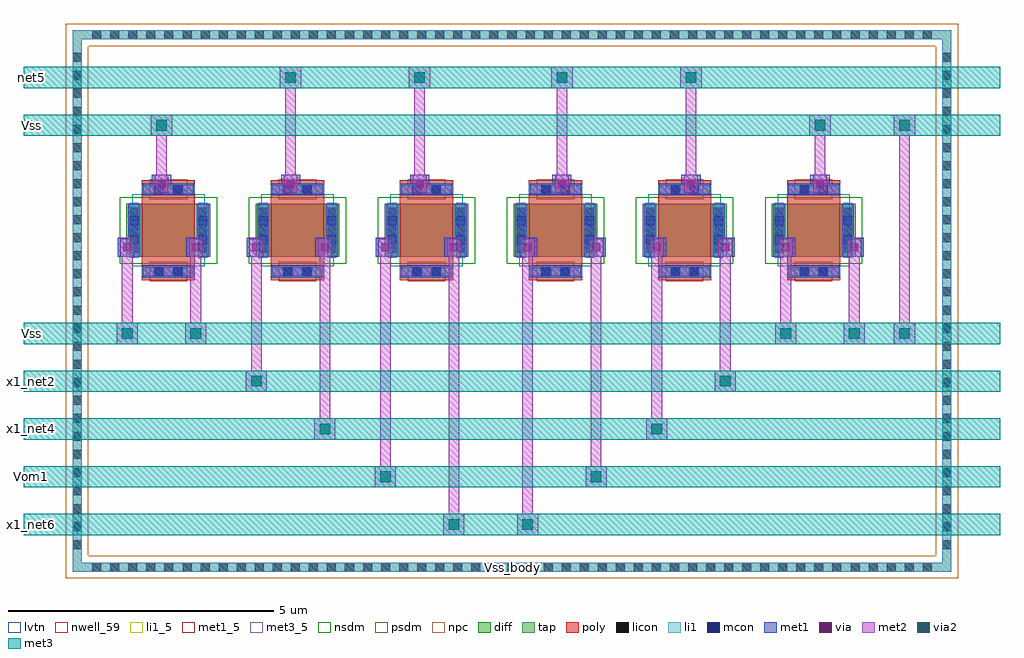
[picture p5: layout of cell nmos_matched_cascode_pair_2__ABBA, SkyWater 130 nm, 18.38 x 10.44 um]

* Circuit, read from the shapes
.subckt nmos_matched_cascode_pair_2__ABBA Vom1 Vss Vss_body net5 x1_net2 x1_net4 x1_net6
XM1 Vss Vss Vss Vss_body sky130_fd_pr__nfet_01v8_lvt w=1 l=1 m=2
XM2 x1_net4 net5 x1_net2 Vss_body sky130_fd_pr__nfet_01v8_lvt w=1 l=1 m=2
XM3 x1_net6 net5 Vom1 Vss_body sky130_fd_pr__nfet_01v8_lvt w=1 l=1 m=2
.ends

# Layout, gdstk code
from math import pi, radians
import gdstk
lib = gdstk.Library(unit=1e-6, precision=1e-09)
def R(c, l, rs):  # rectangles x0, y0, x1, y1
    for r in rs: c.add(gdstk.rectangle(r[:2], r[2:], *l))
def A(c, l, x, y, w, h, nx, ny, dx, dy):  # array of equal rectangles
    R(c, l, [(x+i*dx, y+j*dy, x+i*dx+w, y+j*dy+h) for i in range(nx) for j in range(ny)])
nwell_59 = (64, 59)
diff = (65, 20)
tap = (65, 44)
poly = (66, 20)
licon = (66, 44)
li1_5 = (67, 5)
li1 = (67, 20)
mcon = (67, 44)
met1_5 = (68, 5)
met1 = (68, 20)
via = (68, 44)
met2 = (69, 20)
via2 = (69, 44)
met3_5 = (70, 5)
met3 = (70, 20)
nsdm = (93, 44)
psdm = (94, 20)
npc = (95, 20)
lvtn = (125, 44)

sky130_fd_pr__nfet_01v8_ = lib.new_cell('sky130_fd_pr__nfet_01v8_lvt_YU23CF')
R(sky130_fd_pr__nfet_01v8_, diff, [(-0.79,-0.5,0.79,0.5)])
R(sky130_fd_pr__nfet_01v8_, poly, [(-0.5,-0.94,0.5,0.94)])
A(sky130_fd_pr__nfet_01v8_, licon, -0.73, -0.425, 0.17, 0.17, 1, 3, 0, 0.34)
A(sky130_fd_pr__nfet_01v8_, licon, 0.56, -0.425, 0.17, 0.17, 1, 3, 0, 0.34)
R(sky130_fd_pr__nfet_01v8_, licon, [(-0.255,-0.86,-0.085,-0.69), (0.085,-0.86,0.255,-0.69), (-0.255,0.69,-0.085,0.86), (0.085,0.69,0.255,0.86)])
R(sky130_fd_pr__nfet_01v8_, li1, [(-0.5,-0.86,0.5,-0.69), (-0.73,-0.52,-0.56,0.52), (0.56,-0.52,0.73,0.52), (-0.5,0.69,0.5,0.86)])
R(sky130_fd_pr__nfet_01v8_, mcon, [(-0.265,-0.86,-0.095,-0.69), (0.095,-0.86,0.265,-0.69), (-0.73,-0.265,-0.56,-0.095), (0.56,-0.265,0.73,-0.095), (-0.73,0.095,-0.56,0.265), (0.56,0.095,0.73,0.265), (-0.265,0.69,-0.095,0.86), (0.095,0.69,0.265,0.86)])
R(sky130_fd_pr__nfet_01v8_, met1, [(-0.48,-0.89,0.48,-0.66), (-0.76,-0.5,-0.53,0.5), (0.53,-0.5,0.76,0.5), (-0.48,0.66,0.48,0.89)])
R(sky130_fd_pr__nfet_01v8_, nsdm, [(-0.915,-0.625,0.915,0.625)])
R(sky130_fd_pr__nfet_01v8_, npc, [(-0.355,-0.96,0.355,-0.59), (-0.355,0.59,0.355,0.96)])
R(sky130_fd_pr__nfet_01v8_, lvtn, [(-0.68,-0.68,0.68,0.68)])
sky130_fd_pr__nfet_01v8_.add(gdstk.Label('D', (-0.645,0), layer=67, texttype=5))
sky130_fd_pr__nfet_01v8_.add(gdstk.Label('S', (0.645,0), layer=67, texttype=5))
sky130_fd_pr__nfet_01v8_.add(gdstk.Label('G', (0,0.775), layer=67, texttype=5))

nfet_01v8_lvt_w1_l1_m2__ = lib.new_cell('nfet_01v8_lvt_W1_L1_m2__nf1_gboth_sdfull_ng')
R(nfet_01v8_lvt_w1_l1_m2__, nwell_59, [(0.05,0.89,0.15,0.99)])
R(nfet_01v8_lvt_w1_l1_m2__, met1_5, [(0.03,0.94,0.26,1.14), (1.32,0.94,1.55,1.14), (0.31,1.6,1.27,1.83)])
R(nfet_01v8_lvt_w1_l1_m2__, met1, [(0.03,0.94,0.26,1.14), (1.32,0.94,1.55,1.14), (0.31,1.6,1.27,1.83)])
nfet_01v8_lvt_w1_l1_m2__.add(gdstk.Reference(sky130_fd_pr__nfet_01v8_, (0.79,0.94)))
nfet_01v8_lvt_w1_l1_m2__.add(gdstk.Label('D', (0.145,1.04), layer=68, texttype=5))
nfet_01v8_lvt_w1_l1_m2__.add(gdstk.Label('S', (1.435,1.04), layer=68, texttype=5))
nfet_01v8_lvt_w1_l1_m2__.add(gdstk.Label('G', (0.79,1.715), layer=68, texttype=5))
nfet_01v8_lvt_w1_l1_m2__.add(gdstk.Label('B', (0.1,0.94), layer=64, texttype=59))

nmos_matched_cascode_pai = lib.new_cell('nmos_matched_cascode_pair_2__ABBA')
R(nmos_matched_cascode_pai, tap, [(-0.885,-5.485,15.665,-5.315), (-0.885,-5.315,-0.715,4.535), (15.495,-5.315,15.665,4.535), (-0.885,4.535,15.665,4.705)])
A(nmos_matched_cascode_pai, licon, -0.515, -5.485, 0.17, 0.17, 47, 2, 0.34, 10.02)
A(nmos_matched_cascode_pai, licon, -0.885, -5.065, 0.17, 0.17, 1, 28, 0, 0.34)
A(nmos_matched_cascode_pai, licon, 15.495, -5.065, 0.17, 0.17, 1, 28, 0, 0.34)
R(nmos_matched_cascode_pai, li1_5, [(7.34,-5.45,7.44,-5.35)])
R(nmos_matched_cascode_pai, li1, [(-0.885,-5.485,15.665,-5.315), (-0.885,-5.315,-0.715,4.535), (15.495,-5.315,15.665,4.535), (-0.885,4.535,15.665,4.705)])
A(nmos_matched_cascode_pai, met1, 0.61, 1.63, 0.36, 0.36, 3, 1, 2.43, 0)
A(nmos_matched_cascode_pai, met1, 8.15, 1.63, 0.36, 0.36, 3, 1, 2.43, 0)
R(nmos_matched_cascode_pai, met1, [(-0.035,0.44,0.325,0.8), (1.255,0.44,1.615,0.8), (2.395,0.44,2.755,0.8), (3.685,0.44,4.045,0.8), (4.825,0.44,5.185,0.8), (6.115,0.44,6.475,0.8), (7.505,0.44,7.865,0.8), (8.795,0.44,9.155,0.8), (9.935,0.44,10.295,0.8), (11.225,0.44,11.585,0.8), (12.365,0.44,12.725,0.8), (13.655,0.44,14.015,0.8)])
A(nmos_matched_cascode_pai, via, 0.715, 1.735, 0.15, 0.15, 3, 1, 2.43, 0)
A(nmos_matched_cascode_pai, via, 8.255, 1.735, 0.15, 0.15, 3, 1, 2.43, 0)
R(nmos_matched_cascode_pai, via, [(0.07,0.545,0.22,0.695), (1.36,0.545,1.51,0.695), (2.5,0.545,2.65,0.695), (3.79,0.545,3.94,0.695), (4.93,0.545,5.08,0.695), (6.22,0.545,6.37,0.695), (7.61,0.545,7.76,0.695), (8.9,0.545,9.05,0.695), (10.04,0.545,10.19,0.695), (11.33,0.545,11.48,0.695), (12.47,0.545,12.62,0.695), (13.76,0.545,13.91,0.695)])
A(nmos_matched_cascode_pai, met2, 0.66, 1.65, 0.26, 0.32, 3, 1, 2.43, 0)
A(nmos_matched_cascode_pai, met2, 8.2, 1.65, 0.26, 0.32, 3, 1, 2.43, 0)
R(nmos_matched_cascode_pai, met2, [(6.095,-4.8,6.495,-4.4), (7.485,-4.8,7.885,-4.4), (6.195,-4.4,6.395,0.46), (7.585,-4.4,7.785,0.46), (4.805,-3.9,5.205,-3.5), (8.775,-3.9,9.175,-3.5), (4.905,-3.5,5.105,0.46), (8.875,-3.5,9.075,0.46), (3.665,-3,4.065,-2.6), (9.915,-3,10.315,-2.6), (3.765,-2.6,3.965,0.46), (10.015,-2.6,10.215,0.46), (2.375,-2.1,2.775,-1.7), (11.205,-2.1,11.605,-1.7), (2.475,-1.7,2.675,0.46), (11.305,-1.7,11.505,0.46), (-0.055,-1.2,0.345,-0.8), (1.235,-1.2,1.635,-0.8), (12.345,-1.2,12.745,-0.8), (13.635,-1.2,14.035,-0.8), (14.58,-1.2,14.98,-0.8), (0.045,-0.8,0.245,0.46), (1.335,-0.8,1.535,0.46), (12.445,-0.8,12.645,0.46), (13.735,-0.8,13.935,0.46), (14.68,-0.8,14.88,2.72), (0.015,0.46,0.275,0.78), (1.305,0.46,1.565,0.78), (2.445,0.46,2.705,0.78), (3.735,0.46,3.995,0.78), (4.875,0.46,5.135,0.78), (6.165,0.46,6.425,0.78), (7.555,0.46,7.815,0.78), (8.845,0.46,9.105,0.78), (9.985,0.46,10.245,0.78), (11.275,0.46,11.535,0.78), (12.415,0.46,12.675,0.78), (13.705,0.46,13.965,0.78), (0.69,1.97,0.89,2.72), (3.12,1.97,3.32,3.62), (5.55,1.97,5.75,3.62), (8.23,1.97,8.43,3.62), (10.66,1.97,10.86,3.62), (13.09,1.97,13.29,2.72), (0.59,2.72,0.99,3.12), (12.99,2.72,13.39,3.12), (14.58,2.72,14.98,3.12), (3.02,3.62,3.42,4.02), (5.45,3.62,5.85,4.02), (8.13,3.62,8.53,4.02), (10.56,3.62,10.96,4.02)])
R(nmos_matched_cascode_pai, via2, [(6.195,-4.7,6.395,-4.5), (7.585,-4.7,7.785,-4.5), (4.905,-3.8,5.105,-3.6), (8.875,-3.8,9.075,-3.6), (3.765,-2.9,3.965,-2.7), (10.015,-2.9,10.215,-2.7), (2.475,-2,2.675,-1.8), (11.305,-2,11.505,-1.8), (0.045,-1.1,0.245,-0.9), (1.335,-1.1,1.535,-0.9), (12.445,-1.1,12.645,-0.9), (13.735,-1.1,13.935,-0.9), (14.68,-1.1,14.88,-0.9), (0.69,2.82,0.89,3.02), (13.09,2.82,13.29,3.02), (14.68,2.82,14.88,3.02), (3.12,3.72,3.32,3.92), (5.55,3.72,5.75,3.92), (8.23,3.72,8.43,3.92), (10.66,3.72,10.86,3.92)])
A(nmos_matched_cascode_pai, met3_5, -1.7, -4.65, 0.1, 0.1, 1, 5, 0, 0.9)
R(nmos_matched_cascode_pai, met3_5, [(-1.7,2.87,-1.6,2.97), (-1.7,3.77,-1.6,3.87)])
A(nmos_matched_cascode_pai, met3, -1.8, -4.8, 18.38, 0.4, 1, 5, 0, 0.9)
R(nmos_matched_cascode_pai, met3, [(-1.8,2.72,16.58,3.12), (-1.8,3.62,16.58,4.02)])
R(nmos_matched_cascode_pai, psdm, [(-1.01,-5.61,15.79,-5.19), (-1.01,-5.19,-0.59,4.41), (15.37,-5.19,15.79,4.41), (-1.01,4.41,15.79,4.83)])
nmos_matched_cascode_pai.add(gdstk.Reference(nfet_01v8_lvt_w1_l1_m2__, (0.13,0)))
nmos_matched_cascode_pai.add(gdstk.Reference(nfet_01v8_lvt_w1_l1_m2__, (2.56,0)))
nmos_matched_cascode_pai.add(gdstk.Reference(nfet_01v8_lvt_w1_l1_m2__, (4.99,0)))
nmos_matched_cascode_pai.add(gdstk.Reference(nfet_01v8_lvt_w1_l1_m2__, (9,0), rotation=pi, x_reflection=True))
nmos_matched_cascode_pai.add(gdstk.Reference(nfet_01v8_lvt_w1_l1_m2__, (11.43,0), rotation=pi, x_reflection=True))
nmos_matched_cascode_pai.add(gdstk.Reference(nfet_01v8_lvt_w1_l1_m2__, (13.86,0), rotation=pi, x_reflection=True))
nmos_matched_cascode_pai.add(gdstk.Label('Vss', (-1.65,2.92), layer=70, texttype=5))
nmos_matched_cascode_pai.add(gdstk.Label('net5', (-1.65,3.82), layer=70, texttype=5))
nmos_matched_cascode_pai.add(gdstk.Label('Vss', (-1.65,-1), layer=70, texttype=5))
nmos_matched_cascode_pai.add(gdstk.Label('x1_net2', (-1.65,-1.9), layer=70, texttype=5))
nmos_matched_cascode_pai.add(gdstk.Label('x1_net4', (-1.65,-2.8), layer=70, texttype=5))
nmos_matched_cascode_pai.add(gdstk.Label('Vom1', (-1.65,-3.7), layer=70, texttype=5))
nmos_matched_cascode_pai.add(gdstk.Label('x1_net6', (-1.65,-4.6), layer=70, texttype=5))
nmos_matched_cascode_pai.add(gdstk.Label('Vss_body', (7.39,-5.4), layer=67, texttype=5))

lib.write_gds('nmos_matched_cascode_pair_2__ABBA.gds')
